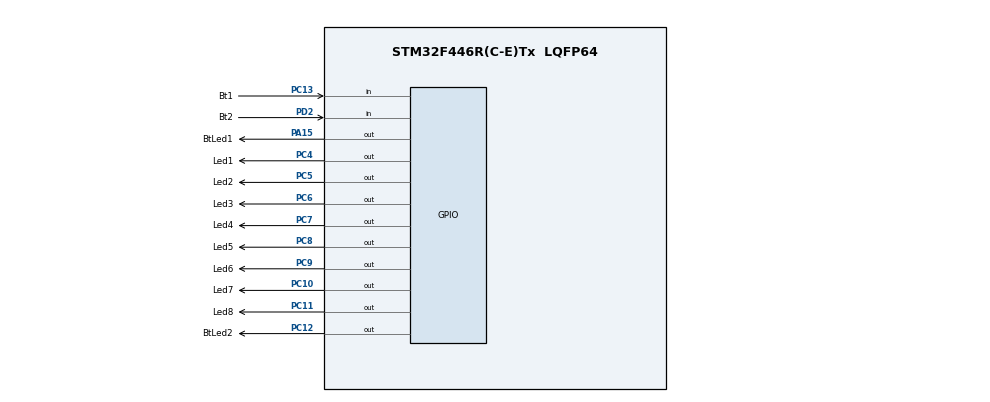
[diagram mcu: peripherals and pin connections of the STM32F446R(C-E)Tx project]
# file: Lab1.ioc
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Mcu.Family=STM32F4
Mcu.Name=STM32F446R(C-E)Tx
Mcu.Package=LQFP64
NVIC.PriorityGroup=NVIC_PRIORITYGROUP_4
PA15.GPIO_Label=BtLed1
PA15.Signal=GPIO_Output
PC10.GPIO_Label=Led7
PC10.Signal=GPIO_Output
PC11.GPIO_Label=Led8
PC11.Signal=GPIO_Output
PC12.GPIO_Label=BtLed2
PC12.Signal=GPIO_Output
PC13.GPIO_Label=Bt1
PC13.Signal=GPIO_Input
PC4.GPIO_Label=Led1
PC4.Signal=GPIO_Output
PC5.GPIO_Label=Led2
PC5.Signal=GPIO_Output
PC6.GPIO_Label=Led3
PC6.Signal=GPIO_Output
PC7.GPIO_Label=Led4
PC7.Signal=GPIO_Output
PC8.GPIO_Label=Led5
PC8.Signal=GPIO_Output
PC9.GPIO_Label=Led6
PC9.Signal=GPIO_Output
PD2.GPIO_Label=Bt2
PD2.Signal=GPIO_Input
ProjectManager.HeapSize=0x200
ProjectManager.StackSize=0x400
ProjectManager.TargetToolchain=STM32CubeIDE
RCC.CortexFreq_Value=16000000
RCC.USBFreq_Value=96000000
RCC.VCOOutputFreq_Value=192000000
board=custom

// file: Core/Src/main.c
/* USER CODE BEGIN Header */
/**
  ******************************************************************************
  * @file           : main.c
  * @brief          : Main program body
  ******************************************************************************
  * @attention
  *
  * Copyright (c) 2024 STMicroelectronics.
  * All rights reserved.
  *
  * This software is licensed under terms that can be found in the LICENSE file
  * in the root directory of this software component.
  * If no LICENSE file comes with this software, it is provided AS-IS.
  *
  ******************************************************************************
  */
/* USER CODE END Header */
#include "main.h"
#include "stdbool.h"

/* USER CODE BEGIN PM */
void display(uint8_t val);
/* USER CODE END PM */

void SystemClock_Config(void);
static void MX_GPIO_Init(void);

int main(void)
{

  /* MCU Configuration--------------------------------------------------------*/

  /* Reset of all peripherals, Initializes the Flash interface and the Systick. */
  HAL_Init();

  /* Configure the system clock */
  SystemClock_Config();

  /* Initialize all configured peripherals */
  MX_GPIO_Init();

  /* Infinite loop */
  /* USER CODE BEGIN WHILE */

  uint8_t vall = 0;
  bool btn1 = 0;
  bool btn2 = 0;
  unsigned int timer1 = 0;
  unsigned int timer2 = 0;
  while (1)
  {
    /* USER CODE END WHILE */
//	  for(uint8_t i = 0; i < 255; i++){
//		  display(i);
//		  HAL_Delay(300);
//	  }
	  if(!HAL_GPIO_ReadPin(Bt1_GPIO_Port, Bt1_Pin) && btn1 && vall > 0){
		  HAL_GPIO_WritePin(BtLed1_GPIO_Port, BtLed1_Pin , 1);
		  timer1 = 0;
		  vall --;
//		  HAL_Delay(100);
//		  HAL_GPIO_WritePin(BtLed1_GPIO_Port, BtLed1_Pin , 0);

	  }
	  btn1 = HAL_GPIO_ReadPin(Bt1_GPIO_Port, Bt1_Pin);
	  if(!HAL_GPIO_ReadPin(Bt2_GPIO_Port, Bt2_Pin) && btn2 && vall < 255){
		  HAL_GPIO_WritePin(BtLed2_GPIO_Port, BtLed2_Pin , 1);
		  timer2 = 0;
		  vall ++;

	  }
	  btn2 = HAL_GPIO_ReadPin(Bt2_GPIO_Port, Bt2_Pin);

	  display(vall);

	  if(timer1 > 10000){
		  HAL_GPIO_WritePin(BtLed1_GPIO_Port, BtLed1_Pin , 0);
	  }
	  if(timer2 > 10000){
		  HAL_GPIO_WritePin(BtLed2_GPIO_Port, BtLed2_Pin , 0);
	  }

	  timer1++;
	  timer2++;
  }
}

void SystemClock_Config(void)
{
  RCC_OscInitTypeDef RCC_OscInitStruct = {0};
  RCC_ClkInitTypeDef RCC_ClkInitStruct = {0};

  /** Configure the main internal regulator output voltage
  */
  __HAL_RCC_PWR_CLK_ENABLE();
  __HAL_PWR_VOLTAGESCALING_CONFIG(PWR_REGULATOR_VOLTAGE_SCALE3);

  /** Initializes the RCC Oscillators according to the specified parameters
  * in the RCC_OscInitTypeDef structure.
  */
  RCC_OscInitStruct.OscillatorType = RCC_OSCILLATORTYPE_HSI;
  RCC_OscInitStruct.HSIState = RCC_HSI_ON;
  RCC_OscInitStruct.HSICalibrationValue = RCC_HSICALIBRATION_DEFAULT;
  RCC_OscInitStruct.PLL.PLLState = RCC_PLL_NONE;
  if (HAL_RCC_OscConfig(&RCC_OscInitStruct) != HAL_OK)
  {
    Error_Handler();
  }

  /** Initializes the CPU, AHB and APB buses clocks
  */
  RCC_ClkInitStruct.ClockType = RCC_CLOCKTYPE_HCLK|RCC_CLOCKTYPE_SYSCLK
                              |RCC_CLOCKTYPE_PCLK1|RCC_CLOCKTYPE_PCLK2;
  RCC_ClkInitStruct.SYSCLKSource = RCC_SYSCLKSOURCE_HSI;
  RCC_ClkInitStruct.AHBCLKDivider = RCC_SYSCLK_DIV1;
  RCC_ClkInitStruct.APB1CLKDivider = RCC_HCLK_DIV1;
  RCC_ClkInitStruct.APB2CLKDivider = RCC_HCLK_DIV1;

  if (HAL_RCC_ClockConfig(&RCC_ClkInitStruct, FLASH_LATENCY_0) != HAL_OK)
  {
    Error_Handler();
  }
}

static void MX_GPIO_Init(void)
{
  GPIO_InitTypeDef GPIO_InitStruct = {0};

  /* GPIO Ports Clock Enable */
  __HAL_RCC_GPIOC_CLK_ENABLE();
  __HAL_RCC_GPIOA_CLK_ENABLE();
  __HAL_RCC_GPIOD_CLK_ENABLE();

  /*Configure GPIO pin Output Level */
  HAL_GPIO_WritePin(GPIOC, Led1_Pin|Led2_Pin|Led3_Pin|Led4_Pin
                          |Led5_Pin|Led6_Pin|Led7_Pin|Led8_Pin
                          |BtLed2_Pin, GPIO_PIN_RESET);

  /*Configure GPIO pin Output Level */
  HAL_GPIO_WritePin(BtLed1_GPIO_Port, BtLed1_Pin, GPIO_PIN_RESET);

  /*Configure GPIO pin : Bt1_Pin */
  GPIO_InitStruct.Pin = Bt1_Pin;
  GPIO_InitStruct.Mode = GPIO_MODE_INPUT;
  GPIO_InitStruct.Pull = GPIO_NOPULL;
  HAL_GPIO_Init(Bt1_GPIO_Port, &GPIO_InitStruct);

  /*Configure GPIO pins : Led1_Pin Led2_Pin Led3_Pin Led4_Pin
                           Led5_Pin Led6_Pin Led7_Pin Led8_Pin
                           BtLed2_Pin */
  GPIO_InitStruct.Pin = Led1_Pin|Led2_Pin|Led3_Pin|Led4_Pin
                          |Led5_Pin|Led6_Pin|Led7_Pin|Led8_Pin
                          |BtLed2_Pin;
  GPIO_InitStruct.Mode = GPIO_MODE_OUTPUT_PP;
  GPIO_InitStruct.Pull = GPIO_NOPULL;
  GPIO_InitStruct.Speed = GPIO_SPEED_FREQ_LOW;
  HAL_GPIO_Init(GPIOC, &GPIO_InitStruct);

  /*Configure GPIO pin : BtLed1_Pin */
  GPIO_InitStruct.Pin = BtLed1_Pin;
  GPIO_InitStruct.Mode = GPIO_MODE_OUTPUT_PP;
  GPIO_InitStruct.Pull = GPIO_NOPULL;
  GPIO_InitStruct.Speed = GPIO_SPEED_FREQ_LOW;
  HAL_GPIO_Init(BtLed1_GPIO_Port, &GPIO_InitStruct);

  /*Configure GPIO pin : Bt2_Pin */
  GPIO_InitStruct.Pin = Bt2_Pin;
  GPIO_InitStruct.Mode = GPIO_MODE_INPUT;
  GPIO_InitStruct.Pull = GPIO_NOPULL;
  HAL_GPIO_Init(Bt2_GPIO_Port, &GPIO_InitStruct);

}

/* USER CODE BEGIN 4 */
void display(uint8_t val){
	HAL_GPIO_WritePin(GPIOC, Led1_Pin, val & (1 << 7));
	HAL_GPIO_WritePin(GPIOC, Led2_Pin, val & (1 << 6));
	HAL_GPIO_WritePin(GPIOC, Led3_Pin, val & (1 << 5));
	HAL_GPIO_WritePin(GPIOC, Led4_Pin, val & (1 << 4));
	HAL_GPIO_WritePin(GPIOC, Led5_Pin, val & (1 << 3));
	HAL_GPIO_WritePin(GPIOC, Led6_Pin, val & (1 << 2));
	HAL_GPIO_WritePin(GPIOC, Led7_Pin, val & (1 << 1));
	HAL_GPIO_WritePin(GPIOC, Led8_Pin, val & (1 << 0));
}

/* USER CODE END 4 */

void Error_Handler(void)
{
  __disable_irq();
  while (1)
  {
  }
}
